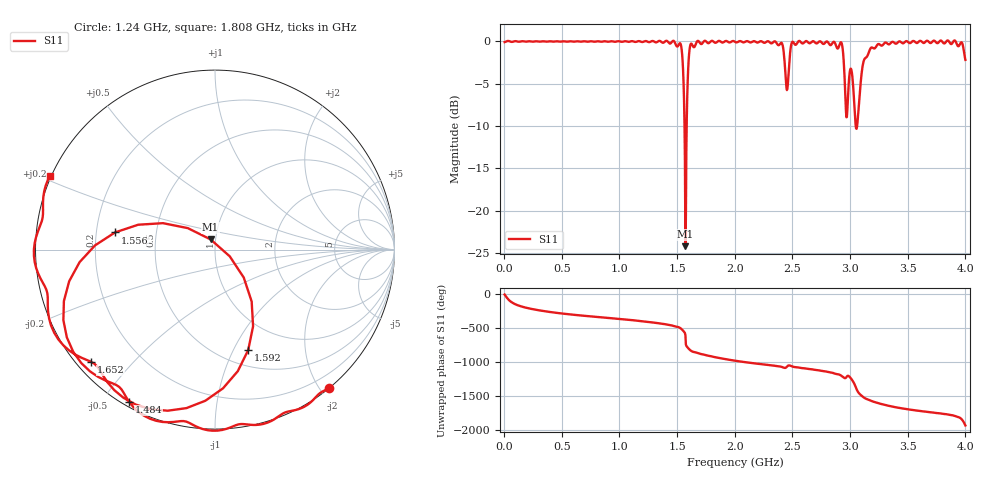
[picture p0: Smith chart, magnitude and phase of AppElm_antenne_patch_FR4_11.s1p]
! TOUCHSTONE file generated by CST MICROWAVE STUDIO
! Date and time: Tue Jun  7 20:52:01 2022
! Project name: AppElm_antenne_patch_FR4.cst
! Parameters = {L=45; W=58.5; e=0.035; h=1.6; lambda=0.190476; ls=120; w0=1.6; w1=0.533333; ws=120; y0=20; y1=29.76}
! Header version: 2018
! Port assignment regex: !\s*Touchstone port\s*([0-9]+)\s*=\s*(CST MWS port|CST DS port)\s*([0-9]+|Zmin|Zmax)\s*\(\"(.*)\"\)(\s*mode\s*([0-9]+))?.*
! Touchstone port assignment:
! Touchstone port 1 = CST MWS port 1 ("")
# GHz S MA R 50
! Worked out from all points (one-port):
!   1000 points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, 4 MHz to 4 GHz, reference 50 ohm
!   lowest |S11| = -24.2 dB at 1.572 GHz (marker M1), VSWR 1.13, Z = 47.3 + j5.38 ohm
!   |S11| at or under -10 dB: 1.564 GHz to 1.583 GHz (18.81 MHz wide, 1.2 % of centre); 3.049304 GHz to 3.060665 GHz (11.36 MHz wide, 0.372 % of centre)
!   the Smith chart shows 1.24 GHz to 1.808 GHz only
!   S11 on the Smith chart (normalised r, x): 1.24 GHz: -0.00, -2.11; 1.484 GHz: 0.02, -0.58; 1.556 GHz: 0.28, +0.08; 1.592 GHz: 0.67, -1.15; 1.652 GHz: 0.04, -0.38; 1.808 GHz: -0.00, +0.21
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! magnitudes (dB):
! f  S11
! 4 MHz  -0.1
! 504 MHz  0.0
! 1.004 GHz  0.0
! 1.24 GHz  0.0
! 1.484 GHz  -0.2
! 1.504 GHz  -0.6
! 1.536 GHz  -0.6
! 1.548 GHz  -2.4
! 1.556 GHz  -5.0
! 1.572 GHz  -24.2
! 1.592 GHz  -4.6
! 1.6 GHz  -2.2
! 1.612 GHz  -0.6
! 1.652 GHz  -0.6
! 1.808 GHz  0.1
! 2.004 GHz  -0.1
! 2.4 GHz  -0.2
! 2.452 GHz  -5.8
! 2.504 GHz  0.0
! 2.916 GHz  -0.1
! 2.968 GHz  -9.0
! 3.004 GHz  -3.2
! 3.056 GHz  -10.3
! 3.112 GHz  -2.7
! 3.176 GHz  -0.8
! 3.504 GHz  -0.1
! 3.908 GHz  0.1
! 4 GHz  -2.2
